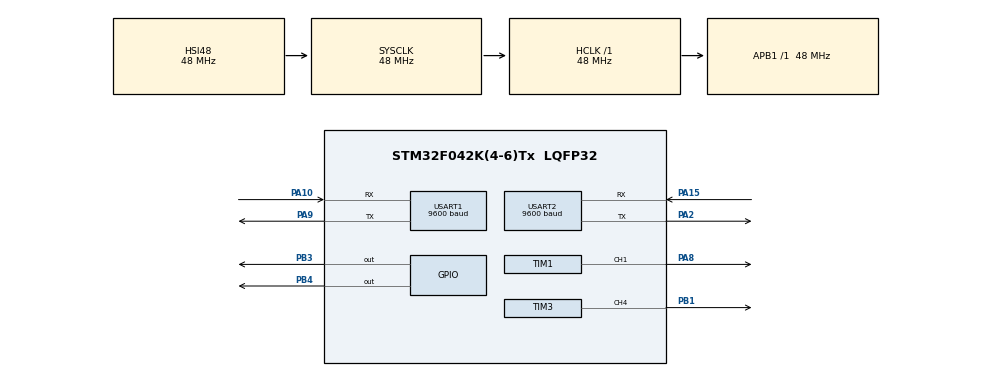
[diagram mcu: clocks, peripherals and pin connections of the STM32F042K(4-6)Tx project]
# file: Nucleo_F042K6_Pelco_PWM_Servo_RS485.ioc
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Dma.Request0=USART2_RX
Dma.Request1=USART2_TX
Dma.Request2=USART1_RX
Dma.Request3=USART1_TX
Dma.USART1_RX.2.Direction=DMA_PERIPH_TO_MEMORY
Dma.USART1_RX.2.Instance=DMA1_Channel3
Dma.USART1_RX.2.MemDataAlignment=DMA_MDATAALIGN_BYTE
Dma.USART1_RX.2.MemInc=DMA_MINC_ENABLE
Dma.USART1_RX.2.Mode=DMA_NORMAL
Dma.USART1_RX.2.PeriphDataAlignment=DMA_PDATAALIGN_BYTE
Dma.USART1_RX.2.PeriphInc=DMA_PINC_DISABLE
Dma.USART1_RX.2.Priority=DMA_PRIORITY_MEDIUM
Dma.USART1_TX.3.Direction=DMA_MEMORY_TO_PERIPH
Dma.USART1_TX.3.Instance=DMA1_Channel2
Dma.USART1_TX.3.MemDataAlignment=DMA_MDATAALIGN_BYTE
Dma.USART1_TX.3.MemInc=DMA_MINC_ENABLE
Dma.USART1_TX.3.Mode=DMA_NORMAL
Dma.USART1_TX.3.PeriphDataAlignment=DMA_PDATAALIGN_BYTE
Dma.USART1_TX.3.PeriphInc=DMA_PINC_DISABLE
Dma.USART1_TX.3.Priority=DMA_PRIORITY_MEDIUM
Dma.USART2_RX.0.Direction=DMA_PERIPH_TO_MEMORY
Dma.USART2_RX.0.Instance=DMA1_Channel5
Dma.USART2_RX.0.MemDataAlignment=DMA_MDATAALIGN_BYTE
Dma.USART2_RX.0.MemInc=DMA_MINC_ENABLE
Dma.USART2_RX.0.Mode=DMA_NORMAL
Dma.USART2_RX.0.PeriphDataAlignment=DMA_PDATAALIGN_BYTE
Dma.USART2_RX.0.PeriphInc=DMA_PINC_DISABLE
Dma.USART2_RX.0.Priority=DMA_PRIORITY_LOW
Dma.USART2_TX.1.Direction=DMA_MEMORY_TO_PERIPH
Dma.USART2_TX.1.Instance=DMA1_Channel4
Dma.USART2_TX.1.MemDataAlignment=DMA_MDATAALIGN_BYTE
Dma.USART2_TX.1.MemInc=DMA_MINC_ENABLE
Dma.USART2_TX.1.Mode=DMA_NORMAL
Dma.USART2_TX.1.PeriphDataAlignment=DMA_PDATAALIGN_BYTE
Dma.USART2_TX.1.PeriphInc=DMA_PINC_DISABLE
Dma.USART2_TX.1.Priority=DMA_PRIORITY_LOW
Mcu.Family=STM32F0
Mcu.Name=STM32F042K(4-6)Tx
Mcu.Package=LQFP32
NVIC.DMA1_Channel2_3_IRQn=true\:0\:0\:false\:false\:true\:false\:true\:true
NVIC.DMA1_Channel4_5_IRQn=true\:0\:0\:false\:false\:true\:false\:true\:true
NVIC.USART1_IRQn=true\:0\:0\:false\:false\:true\:true\:true\:true
NVIC.USART2_IRQn=true\:0\:0\:false\:false\:true\:true\:true\:true
PA10.GPIO_PuPd=GPIO_NOPULL
PA10.Mode=Asynchronous
PA10.Signal=USART1_RX
PA13.Mode=Serial_Wire
PA13.Signal=SYS_SWDIO
PA14.Mode=Serial_Wire
PA14.Signal=SYS_SWCLK
PA15.GPIO_PuPd=GPIO_PULLUP
PA15.Mode=Asynchronous
PA15.Signal=USART2_RX
PA2.GPIO_PuPd=GPIO_PULLUP
PA2.Mode=Asynchronous
PA2.Signal=USART2_TX
PA8.GPIO_Speed=GPIO_SPEED_FREQ_MEDIUM
PA8.Signal=S_TIM1_CH1
PA9.GPIO_PuPd=GPIO_PULLUP
PA9.Mode=Asynchronous
PA9.Signal=USART1_TX
PB1.GPIO_Speed=GPIO_SPEED_FREQ_MEDIUM
PB1.Signal=S_TIM3_CH4
PB3.GPIO_PuPd=GPIO_PULLUP
PB3.Signal=GPIO_Output
PB4.GPIO_PuPd=GPIO_PULLUP
PB4.Signal=GPIO_Output
ProjectManager.HeapSize=0x200
ProjectManager.StackSize=0x400
ProjectManager.TargetToolchain=MDK-ARM V5.32
RCC.AHBFreq_Value=48000000
RCC.APB1Freq_Value=48000000
RCC.APB1TimFreq_Value=48000000
RCC.FLatency=FLASH_LATENCY_1
RCC.HCLKFreq_Value=48000000
RCC.SYSCLKFreq_VALUE=48000000
RCC.SYSCLKSource=RCC_SYSCLKSOURCE_HSI48
SH.S_TIM1_CH1.0=TIM1_CH1,PWM Generation1 CH1
SH.S_TIM3_CH4.0=TIM3_CH4,PWM Generation4 CH4
TIM1.AutoReloadPreload=TIM_AUTORELOAD_PRELOAD_DISABLE
TIM1.AutomaticOutput=TIM_AUTOMATICOUTPUT_DISABLE
TIM1.BreakPolarity=TIM_BREAKPOLARITY_HIGH
TIM1.BreakState=TIM_BREAK_DISABLE
TIM1.Channel-PWM\ Generation1\ CH1=TIM_CHANNEL_1
TIM1.ClockDivision=TIM_CLOCKDIVISION_DIV1
TIM1.CounterMode=TIM_COUNTERMODE_UP
TIM1.LockLevel=TIM_LOCKLEVEL_OFF
TIM1.OC1Preload_PWM=ENABLE
TIM1.OCFastMode_PWM-PWM\ Generation1\ CH1=TIM_OCFAST_DISABLE
TIM1.OCIdleState_1=TIM_OCIDLESTATE_RESET
TIM1.OCMode_PWM-PWM\ Generation1\ CH1=TIM_OCMODE_PWM1
TIM1.OCPolarity_1=TIM_OCPOLARITY_HIGH
TIM1.OffStateIDLEMode=TIM_OSSI_DISABLE
TIM1.OffStateRunMode=TIM_OSSR_DISABLE
TIM1.Period=19999
TIM1.Prescaler=49
TIM1.Pulse-PWM\ Generation1\ CH1=2000
TIM1.RepetitionCounter=0
TIM1.TIM_MasterOutputTrigger=TIM_TRGO_RESET
TIM1.TIM_MasterSlaveMode=TIM_MASTERSLAVEMODE_DISABLE
TIM3.AutoReloadPreload=TIM_AUTORELOAD_PRELOAD_DISABLE
TIM3.Channel-PWM\ Generation4\ CH4=TIM_CHANNEL_4
TIM3.ClockDivision=TIM_CLOCKDIVISION_DIV1
TIM3.CounterMode=TIM_COUNTERMODE_UP
TIM3.OC4Preload_PWM=ENABLE
TIM3.OCFastMode_PWM-PWM\ Generation4\ CH4=TIM_OCFAST_DISABLE
TIM3.OCMode_PWM-PWM\ Generation4\ CH4=TIM_OCMODE_PWM1
TIM3.OCPolarity_4=TIM_OCPOLARITY_HIGH
TIM3.Period=19999
TIM3.Prescaler=49
TIM3.Pulse-PWM\ Generation4\ CH4=2000
TIM3.TIM_MasterOutputTrigger=TIM_TRGO_RESET
TIM3.TIM_MasterSlaveMode=TIM_MASTERSLAVEMODE_DISABLE
USART1.BaudRate=9600
USART1.VirtualMode-Asynchronous=VM_ASYNC
USART2.BaudRate=9600
USART2.DMADisableonRxErrorParam=ADVFEATURE_DMA_ENABLEONRXERROR
USART2.DataInvertParam=ADVFEATURE_DATAINV_DISABLE
USART2.MSBFirstParam=ADVFEATURE_MSBFIRST_DISABLE
USART2.Mode=MODE_TX_RX
USART2.OneBitSampling=UART_ONE_BIT_SAMPLE_DISABLE
USART2.OverSampling=UART_OVERSAMPLING_16
USART2.OverrunDisableParam=ADVFEATURE_OVERRUN_ENABLE
USART2.Parity=PARITY_NONE
USART2.RxPinLevelInvertParam=ADVFEATURE_RXINV_DISABLE
USART2.StopBits=STOPBITS_1
USART2.SwapParam=ADVFEATURE_SWAP_DISABLE
USART2.TxPinLevelInvertParam=ADVFEATURE_TXINV_DISABLE
USART2.VirtualMode-Asynchronous=VM_ASYNC
USART2.WordLength=WORDLENGTH_8B
VP_TIM1_VS_ClockSourceINT.Mode=Internal
VP_TIM3_VS_ClockSourceINT.Mode=Internal
board=NUCLEO-F042K6

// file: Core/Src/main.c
/* USER CODE BEGIN Header */
/**
  ******************************************************************************
  * @file           : main.c
  * @brief          : Main program body
  ******************************************************************************
  * @attention
  *
  * Copyright (c) 2026 STMicroelectronics.
  * All rights reserved.
  *
  * This software is licensed under terms that can be found in the LICENSE file
  * in the root directory of this software component.
  * If no LICENSE file comes with this software, it is provided AS-IS.
  *
  ******************************************************************************
  */
/* USER CODE END Header */
#include "main.h"

/* USER CODE BEGIN PM */

#define ON  1
#define OFF 0

#define OLD 0
#define NOW 1

#define SERVO_PAN_MIN							600
#define SERVO_PAN_MAX							2200
#define SERVO_PAN_GAIN						4

//#define SERVO_PAN_SPEED_LV0				1000
#define SERVO_PAN_SPEED_LV0				800
#define SERVO_PAN_SPEED_LV1				300
#define SERVO_PAN_SPEED_LV2				100
#define SERVO_PAN_SPEED_LV3				50

#define SERVO_TILT_MIN						800
#define SERVO_TILT_MAX						1600
#define SERVO_TILT_GAIN						4

#define SERVO_TILT_SPEED_LV0			800
#define SERVO_TILT_SPEED_LV1			300
#define SERVO_TILT_SPEED_LV2			100
#define SERVO_TILT_SPEED_LV3			50

/* USER CODE END PM */

TIM_HandleTypeDef htim1;
TIM_HandleTypeDef htim3;

UART_HandleTypeDef huart1;
UART_HandleTypeDef huart2;
DMA_HandleTypeDef hdma_usart1_rx;
DMA_HandleTypeDef hdma_usart1_tx;
DMA_HandleTypeDef hdma_usart2_rx;
DMA_HandleTypeDef hdma_usart2_tx;

/* USER CODE BEGIN PV */

void HextoASCLL(uint8_t *p1, uint8_t *p2, uint8_t size);
void Memcopy(uint8_t *p1, uint8_t *p2, uint8_t size);
void SysTick_Main(void);

uint8_t Pelco_Frame_Chk(uint8_t *buf);
/* USER CODE END PV */

void SystemClock_Config(void);
static void MX_GPIO_Init(void);
static void MX_DMA_Init(void);
static void MX_TIM1_Init(void);
static void MX_TIM3_Init(void);
static void MX_USART1_UART_Init(void);
static void MX_USART2_UART_Init(void);

/* USER CODE BEGIN 0 */

uint8_t	recv1[32];
uint8_t	send1[32];

uint8_t	recv2[32];
uint8_t	send2[32];

uint16_t systick_cnt;

// 0:stop 1:right or up 2:left or down
uint8_t servo_sts_pan[2];
uint8_t servo_sts_tilt[2];

uint16_t servo_pwm_pan;
uint16_t servo_pwm_tilt;

// 0 to 63
uint8_t servo_speed_pan;
uint8_t servo_speed_tilt;

uint8_t servo_speed_pan_lv;
uint8_t servo_speed_tilt_lv;

uint16_t servo_pan_cnt;
uint16_t servo_tilt_cnt;

uint16_t servo_pan_cnt_max;
uint16_t servo_tilt_cnt_max;

// pelco cmd
uint8_t pelco_cmd_buf[7];
uint8_t pelco_cmd_now[7];
uint8_t pelco_cmd_old[7];

uint8_t pelco_recv_flg;

uint8_t mode;

uint8_t dir;

/* USER CODE END 0 */

int main(void)
{

  /* USER CODE BEGIN 1 */
	mode = 1;		// manual mode

	dir = 0;

	servo_pan_cnt_max  = SERVO_PAN_SPEED_LV1;
	servo_tilt_cnt_max = SERVO_PAN_SPEED_LV1;

	servo_pwm_pan  = 1400;
	servo_pwm_tilt = 1300;

	servo_sts_pan[OLD] = 0;
	servo_sts_pan[NOW] = 0;

	servo_sts_tilt[OLD] = 0;
	servo_sts_tilt[NOW] = 0;

	send1[0] = 0x30;
	send1[1] = 0x30;
	send1[2] = 0x30;
	send1[3] = 0x30;
	send1[4] = 0x30;
	send1[5] = 0x0D;
	send1[6] = 0x0A;

	send2[0] = 0x30;
	send2[1] = 0x30;
	send2[2] = 0x30;
	send2[3] = 0x30;
	send2[4] = 0x30;
	send2[5] = 0x0D;
	send2[6] = 0x0A;

	systick_cnt = 0;

  /* USER CODE END 1 */

  /* MCU Configuration--------------------------------------------------------*/

  /* Reset of all peripherals, Initializes the Flash interface and the Systick. */
  HAL_Init();

  /* Configure the system clock */
  SystemClock_Config();

  /* Initialize all configured peripherals */
  MX_GPIO_Init();
  MX_DMA_Init();
  MX_TIM1_Init();
  MX_TIM3_Init();
  MX_USART1_UART_Init();
  MX_USART2_UART_Init();
  /* USER CODE BEGIN 2 */

	HAL_TIM_PWM_Start(&htim1,TIM_CHANNEL_1);
	HAL_TIM_PWM_Start(&htim3,TIM_CHANNEL_4);

	__HAL_TIM_SetCompare(&htim3,TIM_CHANNEL_3,servo_pwm_pan);
	__HAL_TIM_SetCompare(&htim1,TIM_CHANNEL_1,servo_pwm_tilt);

	HAL_UART_Receive_DMA(&huart1,recv1,7);
	HAL_UART_Receive_DMA(&huart2,recv2,7);

  /* USER CODE END 2 */

  /* Infinite loop */
  while (1)
  {

  }
}

void SystemClock_Config(void)
{
  RCC_OscInitTypeDef RCC_OscInitStruct = {0};
  RCC_ClkInitTypeDef RCC_ClkInitStruct = {0};
  RCC_PeriphCLKInitTypeDef PeriphClkInit = {0};

  /** Initializes the RCC Oscillators according to the specified parameters
  * in the RCC_OscInitTypeDef structure.
  */
  RCC_OscInitStruct.OscillatorType = RCC_OSCILLATORTYPE_HSI48;
  RCC_OscInitStruct.HSI48State = RCC_HSI48_ON;
  RCC_OscInitStruct.PLL.PLLState = RCC_PLL_NONE;
  if (HAL_RCC_OscConfig(&RCC_OscInitStruct) != HAL_OK)
  {
    Error_Handler();
  }

  /** Initializes the CPU, AHB and APB buses clocks
  */
  RCC_ClkInitStruct.ClockType = RCC_CLOCKTYPE_HCLK|RCC_CLOCKTYPE_SYSCLK
                              |RCC_CLOCKTYPE_PCLK1;
  RCC_ClkInitStruct.SYSCLKSource = RCC_SYSCLKSOURCE_HSI48;
  RCC_ClkInitStruct.AHBCLKDivider = RCC_SYSCLK_DIV1;
  RCC_ClkInitStruct.APB1CLKDivider = RCC_HCLK_DIV1;

  if (HAL_RCC_ClockConfig(&RCC_ClkInitStruct, FLASH_LATENCY_1) != HAL_OK)
  {
    Error_Handler();
  }
  PeriphClkInit.PeriphClockSelection = RCC_PERIPHCLK_USART1;
  PeriphClkInit.Usart1ClockSelection = RCC_USART1CLKSOURCE_PCLK1;
  if (HAL_RCCEx_PeriphCLKConfig(&PeriphClkInit) != HAL_OK)
  {
    Error_Handler();
  }
}

static void MX_TIM1_Init(void)
{

  TIM_ClockConfigTypeDef sClockSourceConfig = {0};
  TIM_MasterConfigTypeDef sMasterConfig = {0};
  TIM_OC_InitTypeDef sConfigOC = {0};
  TIM_BreakDeadTimeConfigTypeDef sBreakDeadTimeConfig = {0};

  htim1.Instance = TIM1;
  htim1.Init.Prescaler = 49;
  htim1.Init.CounterMode = TIM_COUNTERMODE_UP;
  htim1.Init.Period = 19999;
  htim1.Init.ClockDivision = TIM_CLOCKDIVISION_DIV1;
  htim1.Init.RepetitionCounter = 0;
  htim1.Init.AutoReloadPreload = TIM_AUTORELOAD_PRELOAD_DISABLE;
  if (HAL_TIM_Base_Init(&htim1) != HAL_OK)
  {
    Error_Handler();
  }
  sClockSourceConfig.ClockSource = TIM_CLOCKSOURCE_INTERNAL;
  if (HAL_TIM_ConfigClockSource(&htim1, &sClockSourceConfig) != HAL_OK)
  {
    Error_Handler();
  }
  if (HAL_TIM_PWM_Init(&htim1) != HAL_OK)
  {
    Error_Handler();
  }
  sMasterConfig.MasterOutputTrigger = TIM_TRGO_RESET;
  sMasterConfig.MasterSlaveMode = TIM_MASTERSLAVEMODE_DISABLE;
  if (HAL_TIMEx_MasterConfigSynchronization(&htim1, &sMasterConfig) != HAL_OK)
  {
    Error_Handler();
  }
  sConfigOC.OCMode = TIM_OCMODE_PWM1;
  sConfigOC.Pulse = 2000;
  sConfigOC.OCPolarity = TIM_OCPOLARITY_HIGH;
  sConfigOC.OCNPolarity = TIM_OCNPOLARITY_HIGH;
  sConfigOC.OCFastMode = TIM_OCFAST_DISABLE;
  sConfigOC.OCIdleState = TIM_OCIDLESTATE_RESET;
  sConfigOC.OCNIdleState = TIM_OCNIDLESTATE_RESET;
  if (HAL_TIM_PWM_ConfigChannel(&htim1, &sConfigOC, TIM_CHANNEL_1) != HAL_OK)
  {
    Error_Handler();
  }
  sBreakDeadTimeConfig.OffStateRunMode = TIM_OSSR_DISABLE;
  sBreakDeadTimeConfig.OffStateIDLEMode = TIM_OSSI_DISABLE;
  sBreakDeadTimeConfig.LockLevel = TIM_LOCKLEVEL_OFF;
  sBreakDeadTimeConfig.DeadTime = 0;
  sBreakDeadTimeConfig.BreakState = TIM_BREAK_DISABLE;
  sBreakDeadTimeConfig.BreakPolarity = TIM_BREAKPOLARITY_HIGH;
  sBreakDeadTimeConfig.AutomaticOutput = TIM_AUTOMATICOUTPUT_DISABLE;
  if (HAL_TIMEx_ConfigBreakDeadTime(&htim1, &sBreakDeadTimeConfig) != HAL_OK)
  {
    Error_Handler();
  }
  HAL_TIM_MspPostInit(&htim1);

}

static void MX_TIM3_Init(void)
{

  TIM_ClockConfigTypeDef sClockSourceConfig = {0};
  TIM_MasterConfigTypeDef sMasterConfig = {0};
  TIM_OC_InitTypeDef sConfigOC = {0};

  htim3.Instance = TIM3;
  htim3.Init.Prescaler = 49;
  htim3.Init.CounterMode = TIM_COUNTERMODE_UP;
  htim3.Init.Period = 19999;
  htim3.Init.ClockDivision = TIM_CLOCKDIVISION_DIV1;
  htim3.Init.AutoReloadPreload = TIM_AUTORELOAD_PRELOAD_DISABLE;
  if (HAL_TIM_Base_Init(&htim3) != HAL_OK)
  {
    Error_Handler();
  }
  sClockSourceConfig.ClockSource = TIM_CLOCKSOURCE_INTERNAL;
  if (HAL_TIM_ConfigClockSource(&htim3, &sClockSourceConfig) != HAL_OK)
  {
    Error_Handler();
  }
  if (HAL_TIM_PWM_Init(&htim3) != HAL_OK)
  {
    Error_Handler();
  }
  sMasterConfig.MasterOutputTrigger = TIM_TRGO_RESET;
  sMasterConfig.MasterSlaveMode = TIM_MASTERSLAVEMODE_DISABLE;
  if (HAL_TIMEx_MasterConfigSynchronization(&htim3, &sMasterConfig) != HAL_OK)
  {
    Error_Handler();
  }
  sConfigOC.OCMode = TIM_OCMODE_PWM1;
  sConfigOC.Pulse = 2000;
  sConfigOC.OCPolarity = TIM_OCPOLARITY_HIGH;
  sConfigOC.OCFastMode = TIM_OCFAST_DISABLE;
  if (HAL_TIM_PWM_ConfigChannel(&htim3, &sConfigOC, TIM_CHANNEL_4) != HAL_OK)
  {
    Error_Handler();
  }
  HAL_TIM_MspPostInit(&htim3);

}

static void MX_USART1_UART_Init(void)
{

  huart1.Instance = USART1;
  huart1.Init.BaudRate = 9600;
  huart1.Init.WordLength = UART_WORDLENGTH_8B;
  huart1.Init.StopBits = UART_STOPBITS_1;
  huart1.Init.Parity = UART_PARITY_NONE;
  huart1.Init.Mode = UART_MODE_TX_RX;
  huart1.Init.HwFlowCtl = UART_HWCONTROL_NONE;
  huart1.Init.OverSampling = UART_OVERSAMPLING_16;
  huart1.Init.OneBitSampling = UART_ONE_BIT_SAMPLE_DISABLE;
  huart1.AdvancedInit.AdvFeatureInit = UART_ADVFEATURE_NO_INIT;
  if (HAL_UART_Init(&huart1) != HAL_OK)
  {
    Error_Handler();
  }

}

static void MX_USART2_UART_Init(void)
{

  huart2.Instance = USART2;
  huart2.Init.BaudRate = 9600;
  huart2.Init.WordLength = UART_WORDLENGTH_8B;
  huart2.Init.StopBits = UART_STOPBITS_1;
  huart2.Init.Parity = UART_PARITY_NONE;
  huart2.Init.Mode = UART_MODE_TX_RX;
  huart2.Init.HwFlowCtl = UART_HWCONTROL_NONE;
  huart2.Init.OverSampling = UART_OVERSAMPLING_16;
  huart2.Init.OneBitSampling = UART_ONE_BIT_SAMPLE_DISABLE;
  huart2.AdvancedInit.AdvFeatureInit = UART_ADVFEATURE_NO_INIT;
  if (HAL_UART_Init(&huart2) != HAL_OK)
  {
    Error_Handler();
  }

}

static void MX_DMA_Init(void)
{

  /* DMA controller clock enable */
  __HAL_RCC_DMA1_CLK_ENABLE();

  /* DMA interrupt init */
  /* DMA1_Channel2_3_IRQn interrupt configuration */
  HAL_NVIC_SetPriority(DMA1_Channel2_3_IRQn, 0, 0);
  HAL_NVIC_EnableIRQ(DMA1_Channel2_3_IRQn);
  /* DMA1_Channel4_5_IRQn interrupt configuration */
  HAL_NVIC_SetPriority(DMA1_Channel4_5_IRQn, 0, 0);
  HAL_NVIC_EnableIRQ(DMA1_Channel4_5_IRQn);

}

static void MX_GPIO_Init(void)
{
  GPIO_InitTypeDef GPIO_InitStruct = {0};

  /* GPIO Ports Clock Enable */
  __HAL_RCC_GPIOA_CLK_ENABLE();
  __HAL_RCC_GPIOB_CLK_ENABLE();

  /*Configure GPIO pin Output Level */
  HAL_GPIO_WritePin(GPIOB, GPIO_PIN_3|GPIO_PIN_4, GPIO_PIN_RESET);

  /*Configure GPIO pins : PB3 PB4 */
  GPIO_InitStruct.Pin = GPIO_PIN_3|GPIO_PIN_4;
  GPIO_InitStruct.Mode = GPIO_MODE_OUTPUT_PP;
  GPIO_InitStruct.Pull = GPIO_PULLUP;
  GPIO_InitStruct.Speed = GPIO_SPEED_FREQ_LOW;
  HAL_GPIO_Init(GPIOB, &GPIO_InitStruct);

}

/* USER CODE BEGIN 4 */

void HextoASCLL(uint8_t *p1, uint8_t *p2, uint8_t size)
{
	uint8_t loop1;
	uint8_t dat;
	uint8_t dat_h;
	uint8_t dat_l;

	for( loop1 = 0; loop1 < size; loop1++ )
	{
		dat = *(p1+loop1);

		dat_h = (dat >> 4) & 0x0F;
		dat_l = (dat >> 0) & 0x0F;

		if( dat_h < 0x0A )
		{
			dat_h = dat_h | 0x30;
		}
		else
		{
			dat_h = dat_h + 0x37;
		}

		if( dat_l < 0x0A )
		{
			dat_l = dat_l | 0x30;
		}
		else
		{
			dat_l = dat_l + 0x37;
		}

		*(p2+(loop1*2)+0) = dat_h;
		*(p2+(loop1*2)+1) = dat_l;
	}

}

void Memcopy(uint8_t *p1, uint8_t *p2, uint8_t size)
{
	uint8_t loop1;

	for( loop1 = 0; loop1 < size; loop1++ )
	{
		*(p2 + loop1) = *(p1 + loop1);
	}
}

void HAL_UART_RxCpltCallback(UART_HandleTypeDef *huart)
{
	uint8_t ans;

	if( huart == &huart1 )													// SightLine Port
	{
//		if( mode == 0x01 )														// Auto scan mode?
//		{
			ans = Pelco_Frame_Chk(recv1);								// Recv Frame data chk
			if( ans == 0 )															// Recv frame no error?
			{
				send2[14] = 0x0D;
				send2[15] = 0x0A;

				HextoASCLL(recv1,send2,7);								//
				HAL_UART_Transmit_DMA(&huart2,send2,16);	//

				Memcopy(recv1,pelco_cmd_buf,7);						// Recv data copy to buf
				pelco_recv_flg = ON;											// Recv flg ON
			}
//		}

		HAL_UART_Receive_DMA(&huart1,recv1,7);
	}
	else if( huart == &huart2 )											// USB COM Port
	{
		ans = Pelco_Frame_Chk(recv2);									// Recv Frame data chk
		if( ans == 0 )																// Recv frame no error?
		{
			send2[14] = 0x0D;
			send2[15] = 0x0A;

			HextoASCLL(recv2,send2,7);									//
			HAL_UART_Transmit_DMA(&huart2,send2,16);		//

			HAL_UART_Transmit_DMA(&huart1,send2,16);		//

			mode = recv2[2] & 0x01;											// Manual Scan or Auto Scan

			if( mode == 0x00 )													// Manual Scan?
			{
				Memcopy(recv2,pelco_cmd_buf,7);						// Recv data copy to buf
				pelco_recv_flg = ON;											// Recv flg ON
			}

			HAL_UART_Receive_DMA(&huart2,recv2,7);			//
		}
	}
}

uint8_t Pelco_Frame_Chk(uint8_t *buf)
{
	uint8_t		err_flg;
	uint8_t		sum;
	uint8_t		loop1;
	err_flg = 1;

	if( *(buf+0) == 0xFF )
	{
		sum = 0;
    for( loop1 = 0; loop1 < 5; loop1++ )
    {
			sum += *(buf+1+loop1);
    }

		if( *(buf+6) == sum )
		{
			err_flg = 0;
		}
	}

	return(err_flg);
}

void SysTick_Main(void)
{
	uint8_t		pan_cmd;
	uint8_t		tilt_cmd;

	uint8_t		pan_speed;
	uint8_t		tilt_speed;

	if( pelco_recv_flg == ON )
	{
		pelco_recv_flg = OFF;

		Memcopy(pelco_cmd_now,pelco_cmd_old,7);
		Memcopy(pelco_cmd_buf,pelco_cmd_now,7);

		pan_cmd  = (pelco_cmd_now[3] >> 1) & 0x03;
		tilt_cmd = (pelco_cmd_now[3] >> 3) & 0x03;

		servo_sts_pan[NOW] = pan_cmd;
		servo_sts_tilt[NOW] = tilt_cmd;

		pan_speed = pelco_cmd_now[4];
		tilt_speed = pelco_cmd_now[5];

		if( pan_speed > 50 )
		{
			servo_pan_cnt_max = 5;
		}
		else if( pan_speed > 32 )
		{
			servo_pan_cnt_max = 15;
		}
		else if( pan_speed > 16 )
		{
			servo_pan_cnt_max = 25;
		}
		else if( pan_speed > 10 )
		{
			servo_pan_cnt_max = 100;
		}
		else if( pan_speed > 5 )
		{
			servo_pan_cnt_max = 200;
		}
		else
		{
			servo_pan_cnt_max = 400;
		}

		if( tilt_speed > 50 )
		{
			servo_tilt_cnt_max = 5;
		}
		else if( tilt_speed > 32 )
		{
			servo_tilt_cnt_max = 15;
		}
		else if( tilt_speed > 16 )
		{
			servo_tilt_cnt_max = 25;
		}
		else if( tilt_speed > 10 )
		{
			servo_tilt_cnt_max = 100;
		}
		else if( tilt_speed > 5 )
		{
			servo_tilt_cnt_max = 200;
		}
		else
		{
			servo_tilt_cnt_max = 400;
		}
	}

	//------
	//------ PAN Control
	//------

	if( servo_sts_pan[NOW] != 0x00 )
	{
		servo_pan_cnt++;
		if( servo_pan_cnt >= servo_pan_cnt_max )
		{
			servo_pan_cnt = 0;

			if( servo_sts_pan[NOW] == 0x02 )
			{
				servo_pwm_pan += SERVO_PAN_GAIN;
				if( servo_pwm_pan > SERVO_PAN_MAX )
				{
					servo_pwm_pan = SERVO_PAN_MAX;
				}
			}
			else if( servo_sts_pan[NOW] == 0x01 )
			{
				servo_pwm_pan -= SERVO_PAN_GAIN;
				if( servo_pwm_pan < SERVO_PAN_MIN )
				{
					servo_pwm_pan = SERVO_PAN_MIN;
				}
			}
		}
	}

	//------
	//------ TILT Control
	//------

	if( servo_sts_tilt[NOW] != 0x00 )
	{
		servo_tilt_cnt++;
		if( servo_tilt_cnt >= servo_tilt_cnt_max )
		{
			servo_tilt_cnt = 0;

			if( servo_sts_tilt[NOW] == 0x02 )
			{
				servo_pwm_tilt += SERVO_TILT_GAIN;
				if( servo_pwm_tilt > SERVO_TILT_MAX )
				{
					servo_pwm_tilt = SERVO_TILT_MAX;
				}
			}
			else if( servo_sts_tilt[NOW] == 0x01 )
			{
				servo_pwm_tilt -= SERVO_TILT_GAIN;
				if( servo_pwm_tilt < SERVO_TILT_MIN )
				{
					servo_pwm_tilt = SERVO_TILT_MIN;
				}
			}
		}
	}

	__HAL_TIM_SetCompare(&htim3,TIM_CHANNEL_4,servo_pwm_pan);
	__HAL_TIM_SetCompare(&htim1,TIM_CHANNEL_1,servo_pwm_tilt);

	//------
	//------ SysTick Timer
	//------
	systick_cnt++;
	if( systick_cnt >= 1000 )
	{
		systick_cnt = 0;

		HAL_GPIO_TogglePin(GPIOB,GPIO_PIN_3);
	}

	if( mode == 0x01 )
	{
//		HAL_GPIO_WritePin(GPIOB,GPIO_PIN_3,GPIO_PIN_SET);
	}
	else
	{
//		HAL_GPIO_WritePin(GPIOB,GPIO_PIN_3,GPIO_PIN_RESET);
	}
}

/* USER CODE END 4 */

void Error_Handler(void)
{
  __disable_irq();
  while (1)
  {
  }
}
